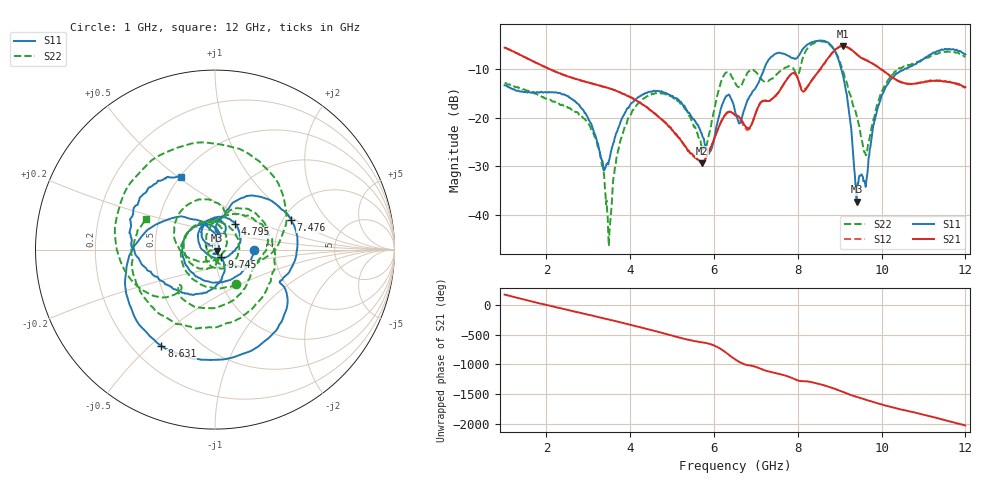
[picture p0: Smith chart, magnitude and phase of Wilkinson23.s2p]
!Keysight Technologies N9917A: A.08.15
!Date: Friday, 06 October 2017 09:41:37
!Timezone: (GMT-08:00) Pacific Time (US & Canada)
!Model: N9917A
!Serial: MY53102735
!GPS Latitude:
!GPS Longitude:
!GPS TimeStamp: 0001-01-01 00:00:00Z
!GPS Seconds Since Last Read: 0
!CHECKSUM:0362060399
!Correction: S11(ON U)S21(ON U)S12(ON U)S22(ON U)
!S2P File: Measurements:S11,S21,S12,S22:
# Hz S DB R 50
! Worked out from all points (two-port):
!   801 points, 1 GHz to 12 GHz, reference 50 ohm
!   highest |S21| = -5.25 dB at 9.085 GHz (marker M1); lowest = -29.4 dB at 5.702 GHz (marker M2)
!   |S21| within 3 dB of the highest: start of sweep to 1.635 GHz; 8.679 GHz to 9.643 GHz (963.3 MHz wide, 10.5 % of centre)
!   lowest |S11| = -37.3 dB at 9.401 GHz (marker M3), VSWR 1.03, Z = 51.2 - j0.61 ohm
!   |S11| at or under -10 dB: start of sweep to 7.195 GHz; 9.036 GHz to 10.55 GHz (1.514 GHz wide, 15.5 % of centre)
!   |S22| runs from -46.4 to -4.3 dB; largest |S21 - S12| = 0.011
!   S11 on the Smith chart (normalised r, x): 1 GHz: 1.55, -0.01; 4.795 GHz: 1.20, +0.35; 7.476 GHz: 2.20, +0.93; 8.631 GHz: 0.31, -0.54; 9.745 GHz: 1.07, -0.09; 12 GHz: 0.51, +0.51
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1e9  -13.34 -0.7  -5.61 169.9  -5.63 169.7  -12.88 -58.2
1.385e9  -14.63 -74.8  -7.16 100.1  -7.17 100.0  -13.91 -147.4
1.8525e9  -14.71 -151.7  -9.12 19.0  -9.15 18.9  -15.50 113.1
2.8425e9  -18.15 90.8  -12.41 -142.5  -12.43 -142.6  -19.63 -88.1
3.24125e9  -25.91 68.0  -13.37 152.5  -13.36 152.5  -26.17 -155.1
3.5025e9  -28.55 133.7  -14.00 109.6  -14.02 109.3  -43.38 -71.0
3.90125e9  -18.60 128.7  -15.37 40.9  -15.38 40.9  -21.48 -91.2
4.67125e9  -14.53 63.3  -19.79 -96.6  -19.81 -96.9  -14.99 156.8
4.795e9  -14.90 51.6  -20.76 -119.6  -20.71 -120.4  -15.04 139.9
5.7025e9  -23.14 -43.7  -29.36 88.0  -29.14 89.1  -25.84 -12.7
6.225e9  -16.73 123.0  -19.95 -52.9  -20.07 -53.0  -11.46 146.2
6.5e9  -18.64 60.7  -19.45 165.1  -19.51 164.2  -12.84 78.0
7.47625e9  -6.85 21.6  -15.50 -66.8  -15.39 -66.9  -11.28 -54.1
8.1225e9  -5.86 -37.8  -14.63 159.2  -14.21 159.1  -7.64 -140.8
8.3425e9  -4.46 -69.9  -12.18 139.0  -12.29 138.2  -4.86 167.3
8.63125e9  -4.22 -119.1  -8.83 88.0  -8.91 88.4  -4.37 99.7
9.085e9  -11.55 135.5  -5.25 -25.1  -5.34 -25.3  -10.55 -6.9
9.40125e9  -37.26 -25.7  -6.94 -105.6  -6.93 -105.1  -19.48 -54.7
9.745e9  -25.08 -50.5  -8.70 -179.3  -8.64 -179.5  -22.68 132.4
1.017125e10  -12.77 -97.6  -11.19 94.3  -11.26 93.6  -12.04 50.0
1.124375e10  -6.60 176.4  -12.41 -86.0  -12.35 -85.6  -7.11 -98.5
1.2e10  -7.02 115.5  -13.71 136.1  -13.88 135.9  -7.54 155.9
